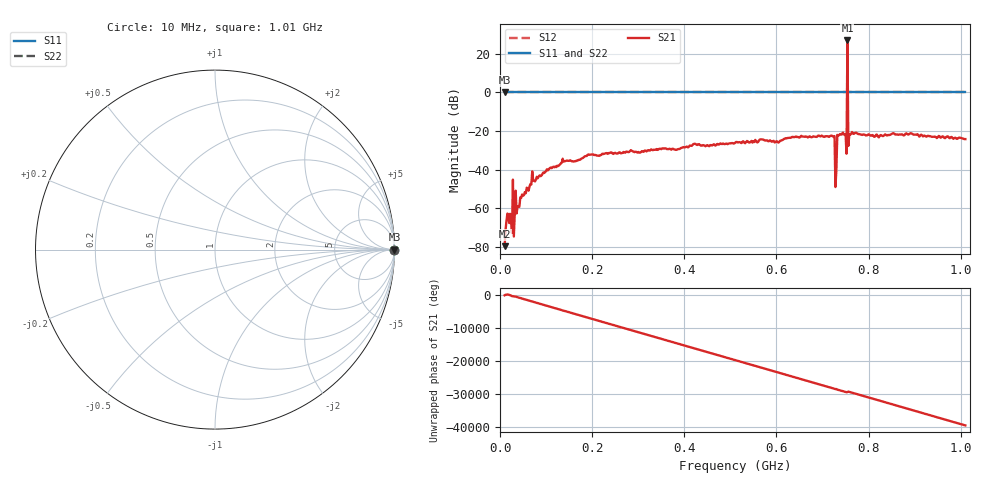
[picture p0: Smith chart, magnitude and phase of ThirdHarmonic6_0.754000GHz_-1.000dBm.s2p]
! 8/16/2025 1:13:16 AM
! C:\ANRITSUVNA\TEMP\TEMP.S2P
! CHANNEL.1
! TR.MEASUREMENT
! RAW.DATA
! RF.CORRECTION.OFF
! AVERAGING.OFF
! IF.BANDWIDTH: 5KHZ
! SWEEPTYPE:  FREQ.SWEEP(Linear)
! Reference Plane Port Info
! PORT:  PORT1  PORT2
! DISTANCE:  0  m  0  m
! TIME:  0  s  0  s
! PHASE.OFFSET:  0  deg.  0  deg.
! LOSS:  0  dB  0  dB
! REF.LOSS:  0  dB  0  dB
! REF.FREQ:  0  Hz  0  Hz
! Power Info
! POWER:  -20  dBm  -20  dBm
! EFF.POWER:  -20  dBm  -20  dBm
! SOURCE.ATTEN:  0  dB  0  dB
! TEST.ATTEN:  0  dB  0  dB
# GHZ S RI R 50.0
! FREQ.GHZ  S11RE  S11IM  S21RE  S21IM  S12RE  S12IM  S22RE  S22IM
!; PortSelection: Port_12
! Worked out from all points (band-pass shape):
!   501 points, 10 MHz to 1.01 GHz, reference 50 ohm
!   highest |S21| = 26.80 dB at 754 MHz (marker M1); lowest = -79.5 dB at 10 MHz (marker M2)
!   |S21| within 3 dB of the highest: 753.8975 MHz to 754.1101 MHz (212.7 kHz wide, 0.0282 % of centre)
!   lowest |S11| = 0.0 dB at 10 MHz (marker M3)
!   |S11| at or under -10 dB: nowhere
!   |S22| runs from 0.0 to 0.0 dB; largest |S21 - S12| = 23
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0.01  1 0  9.89e-05 -3.89e-05  1 0  1 0
0.018  1 0  -0.000617 -0.000314  1 0  1 0
0.022  1 0  0.00072 -0.000107  1 0  1 0
0.032  1 0  0.000739 -5.02e-05  1 0  1 0
0.034  1 0  0.00106 -0.00267  1 0  1 0
0.07  1 0  0.00259 -0.00871  1 0  1 0
0.14  1 0  0.00242 -0.0165  1 0  1 0
0.178  1 0  -0.0195 -0.00228  1 0  1 0
0.344  1 0  0.0302 -0.0147  1 0  1 0
0.51  1 0  -0.0365 0.0332  1 0  1 0
0.678  1 0  -0.0633 -0.0305  1 0  1 0
0.722  1 0  -0.0506 -0.0523  1 0  1 0
0.726  1 0  0.0263 0.0692  1 0  1 0
0.732  1 0  -0.0796 -0.00359  1 0  1 0
0.736  1 0  0.0721 0.0333  1 0  1 0
0.748  1 0  -0.015 -0.0776  1 0  1 0
0.75  1 0  -0.0828 0.00512  1 0  1 0
0.754  1 0  -20.86 6.576  1 0  1 0
0.758  1 0  -0.0689 -0.0417  1 0  1 0
0.76  1 0  -0.0548 0.0585  1 0  1 0
0.844  1 0  0.0744 -0.0258  1 0  1 0
1.01  1 0  -0.0184 0.0591  1 0  1 0
